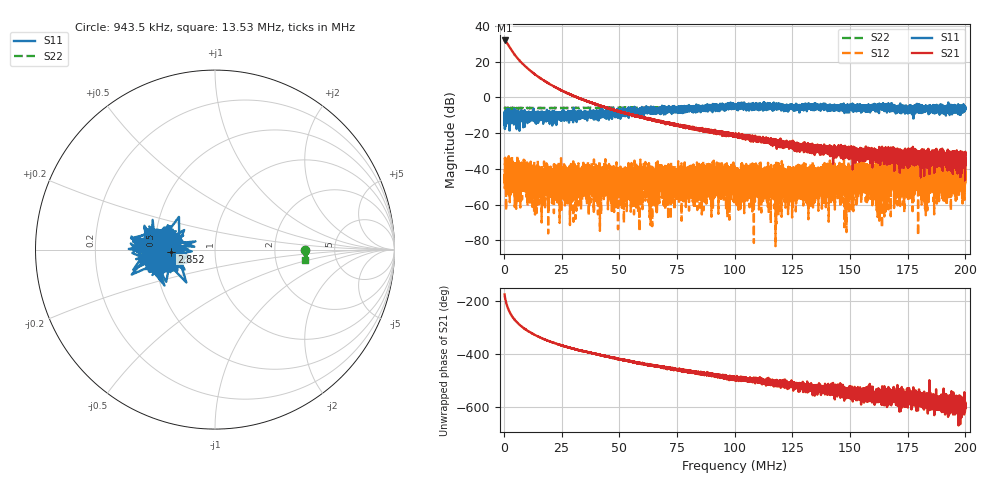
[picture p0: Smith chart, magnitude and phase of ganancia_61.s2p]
# Hz S DB R 50
! CMT, M5065, 19127446, 24.2.4/2
! Date: 10/29/2024 12:53:37 PM
! Data: Format (Calibration Info)
! Freq	S11:dB/Ang(F2)	S21:dB/Ang(F2)	S12:dB/Ang(F2)	S22:dB/Ang(F2)
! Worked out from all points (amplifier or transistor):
!   9000 points, 300 kHz to 200 MHz, reference 50 ohm
!   highest |S21| = 31.9 dB at 344.4 kHz (marker M1)
!   |S21| within 3 dB of that: start of sweep to 2.076 MHz
!   unconditionally stable (mu >= 1): 2.52 MHz to 2.925 MHz; 2.942 MHz to 3.49 MHz; 3.5 MHz to end of sweep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
!   at 33.59 MHz: K = 53.75, MAG = 1.1 dB, |S12| = -43.7 dB
!   at 100.2 MHz: K = 1166.96, MAG = -18.7 dB, |S12| = -51.5 dB
!   at 200 MHz: K = 3065.11, MAG = -29.4 dB, |S12| = -49.1 dB
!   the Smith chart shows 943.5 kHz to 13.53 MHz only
!   S11 on the Smith chart (normalised r, x): 943.5 kHz: 0.50, +0.11; 2.852 MHz: 0.61, -0.01; 13.53 MHz: 0.48, -0.08
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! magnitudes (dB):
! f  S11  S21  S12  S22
! 300 kHz  -14.0  31.8  -42.7  -6.0
! 344.4 kHz  -15.9  31.9  -42.6  -5.9
! 943.5 kHz  -9.4  31.1  -63.2  -6.0
! 2.852 MHz  -12.3  27.3  -46.7  -5.9
! 13.53 MHz  -9.0  12.8  -42.1  -5.9
! 33.59 MHz  -8.3  -0.9  -43.7  -5.9
! 66.87 MHz  -8.1  -13.0  -47.5  -5.7
! 100.2 MHz  -5.7  -21.5  -51.5  -5.6
! 120.4 MHz  -5.2  -25.7  -42.7  -5.5
! 124.1 MHz  -5.6  -26.6  -46.1  -5.5
! 127.8 MHz  -5.8  -26.8  -40.0  -5.4
! 133.4 MHz  -6.2  -26.6  -45.7  -5.3
! 150.6 MHz  -5.5  -27.3  -42.8  -5.3
! 155.2 MHz  -6.4  -31.7  -42.7  -5.3
! 159.4 MHz  -5.9  -30.8  -43.4  -5.3
! 166.7 MHz  -6.3  -31.7  -47.1  -5.3
! 180.6 MHz  -6.2  -32.9  -45.2  -5.4
! 182.8 MHz  -5.4  -33.2  -44.8  -5.4
! 185.4 MHz  -5.8  -32.7  -40.8  -5.4
! 192.9 MHz  -8.0  -36.6  -40.1  -5.4
! 197.3 MHz  -7.0  -32.2  -37.7  -5.5
! 200 MHz  -6.0  -32.0  -49.1  -5.5
